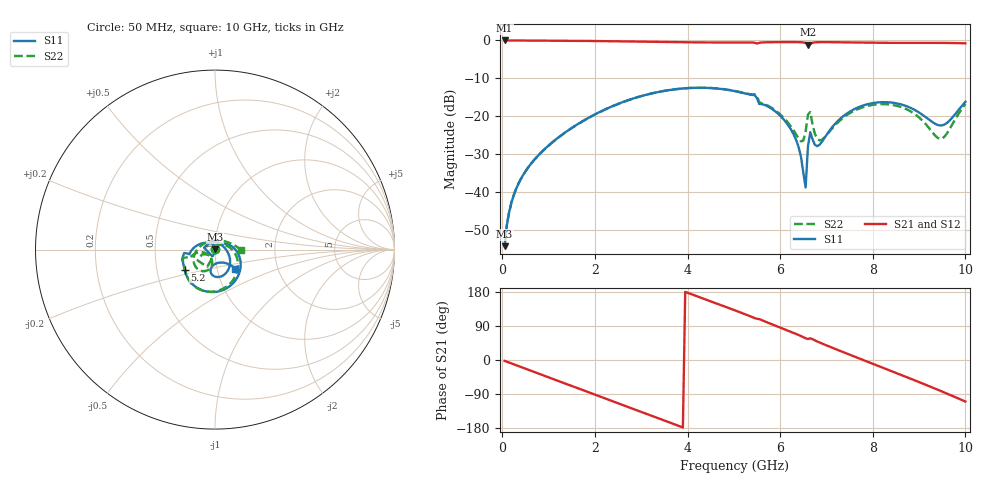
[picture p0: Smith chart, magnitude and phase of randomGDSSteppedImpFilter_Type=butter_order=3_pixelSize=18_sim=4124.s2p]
! freq	dB(S11)	phase(S11)	dB(S12)	phase(S12)
!  dB(S21)	phase(S21)	dB(S22)	phase(S22)
!S-par simulation data
#  GHz  S  DB  R 50
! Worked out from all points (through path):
!   200 points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, 50 MHz to 10 GHz, reference 50 ohm
!   highest |S21| = 0.00 dB at 50 MHz (marker M1); lowest = -1.1 dB at 6.6 GHz (marker M2)
!   group delay of S21, straight-line fit = 129 ps
!   lowest |S11| = -54.2 dB at 50 MHz (marker M3), VSWR 1.00, Z = 50.1 + j0.185 ohm
!   |S11| at or under -10 dB: start of sweep to end of sweep
!   |S22| runs from -54.1 to -12.5 dB; largest |S21 - S12| = 0
!   S11 on the Smith chart (normalised r, x): 50 MHz: 1.00, +0.00; 5.2 GHz: 0.69, -0.16; 10 GHz: 1.22, -0.27
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0.05  -54.21 71.1  -0.00 -2.3  -0.00 -2.3  -54.10 70.9
0.2  -42.62 77.7  -0.02 -9.2  -0.02 -9.2  -42.60 75.7
0.45  -35.45 70.3  -0.03 -20.6  -0.03 -20.6  -35.45 66.0
1.15  -26.15 42.5  -0.07 -52.6  -0.07 -52.6  -26.18 33.4
1.75  -21.16 15.9  -0.12 -80.1  -0.12 -80.1  -21.19 5.3
2.5  -16.72 -18.7  -0.23 -114.4  -0.23 -114.4  -16.75 -28.9
3.4  -13.50 -60.6  -0.40 -155.4  -0.40 -155.4  -13.51 -68.8
4.2  -12.47 -97.9  -0.52 168.4  -0.52 168.4  -12.46 -103.1
5.05  -13.43 -138.8  -0.53 129.8  -0.53 129.8  -13.38 -138.0
5.2  -13.85 -146.6  -0.52 122.8  -0.52 122.8  -13.78 -143.9
6.2  -22.81 149.4  -0.43 75.9  -0.43 75.9  -22.15 -169.6
6.4  -28.16 119.9  -0.45 65.8  -0.45 65.8  -25.85 -154.2
6.55  -38.75 -16.0  -0.66 57.3  -0.66 57.3  -24.05 -110.3
6.6  -27.94 -111.4  -1.07 55.2  -1.07 55.2  -19.55 -114.5
6.65  -24.17 169.8  -1.01 57.3  -1.01 57.3  -18.85 -148.0
6.7  -26.06 120.2  -0.62 54.9  -0.62 54.9  -22.18 -159.2
6.9  -26.73 28.1  -0.45 43.6  -0.45 43.6  -26.17 -123.5
7.5  -18.78 -43.2  -0.52 14.1  -0.52 14.1  -19.20 -105.1
8.35  -16.30 -86.0  -0.63 -26.7  -0.63 -26.7  -16.85 -139.8
8.9  -18.27 -101.8  -0.64 -53.3  -0.64 -53.3  -19.34 -173.6
9.45  -22.39 -79.0  -0.64 -80.8  -0.64 -80.8  -25.93 99.9
10  -16.16 -43.2  -0.76 -109.6  -0.76 -109.6  -16.74 -1.5
